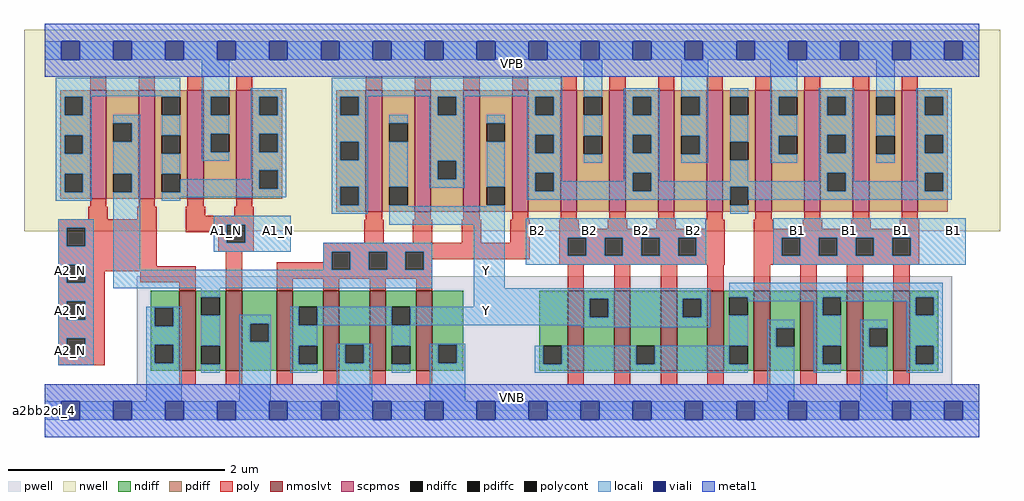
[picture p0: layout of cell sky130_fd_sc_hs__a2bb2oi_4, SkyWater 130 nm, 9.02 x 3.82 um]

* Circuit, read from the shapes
.subckt sky130_fd_sc_hs__a2bb2oi_4 A1_N A2_N B1 B2 VGND VNB VPB VPWR Y
XM1 n1 A2_N VGND VNB sky130_fd_pr__nfet_01v8_lvt w=0.74 l=0.15
XM2 VGND A1_N n1 VNB sky130_fd_pr__nfet_01v8_lvt w=0.74 l=0.15
XM3 Y n1 VGND VNB sky130_fd_pr__nfet_01v8_lvt w=0.74 l=0.15 m=4
XM4 Y B2 n2 VNB sky130_fd_pr__nfet_01v8_lvt w=0.74 l=0.15 m=4
XM5 VGND B1 n2 VNB sky130_fd_pr__nfet_01v8_lvt w=0.74 l=0.15 m=4
XM6 n1 A2_N n3 VPB sky130_fd_pr__pfet_01v8 w=1 l=0.15 m=2
XM7 VPWR A1_N n3 VPB sky130_fd_pr__pfet_01v8 w=1 l=0.15 m=2
XM8 Y n1 n4 VPB sky130_fd_pr__pfet_01v8 w=1.12 l=0.15 m=4
XM9 VPWR B2 n4 VPB sky130_fd_pr__pfet_01v8 w=1.12 l=0.15 m=4
XM10 VPWR B1 n4 VPB sky130_fd_pr__pfet_01v8 w=1.12 l=0.15 m=4
.ends

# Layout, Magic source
magic
tech sky130A
magscale 1 2
<< nwell >>
rect -38 332 1766 704
<< pwell >>
rect 170 49 1678 248
rect 0 0 1728 49
<< scpmos >>
rect 84 392 114 592
rect 174 392 204 592
rect 264 392 294 592
rect 354 392 384 592
rect 594 368 624 592
rect 684 368 714 592
rect 774 368 804 592
rect 864 368 894 592
rect 954 368 984 592
rect 1044 368 1074 592
rect 1134 368 1164 592
rect 1224 368 1254 592
rect 1314 368 1344 592
rect 1404 368 1434 592
rect 1494 368 1524 592
rect 1584 368 1614 592
<< nmoslvt >>
rect 249 74 279 222
rect 335 74 365 222
rect 429 74 459 222
rect 515 74 545 222
rect 601 74 631 222
rect 687 74 717 222
rect 967 74 997 222
rect 1053 74 1083 222
rect 1139 74 1169 222
rect 1225 74 1255 222
rect 1311 74 1341 222
rect 1397 74 1427 222
rect 1483 74 1513 222
rect 1569 74 1599 222
<< ndiff >>
rect 196 190 249 222
rect 196 156 204 190
rect 238 156 249 190
rect 196 122 249 156
rect 196 88 204 122
rect 238 88 249 122
rect 196 74 249 88
rect 279 210 335 222
rect 279 176 290 210
rect 324 176 335 210
rect 279 120 335 176
rect 279 86 290 120
rect 324 86 335 120
rect 279 74 335 86
rect 365 161 429 222
rect 365 127 380 161
rect 414 127 429 161
rect 365 74 429 127
rect 459 192 515 222
rect 459 158 470 192
rect 504 158 515 192
rect 459 120 515 158
rect 459 86 470 120
rect 504 86 515 120
rect 459 74 515 86
rect 545 122 601 222
rect 545 88 556 122
rect 590 88 601 122
rect 545 74 601 88
rect 631 192 687 222
rect 631 158 642 192
rect 676 158 687 192
rect 631 120 687 158
rect 631 86 642 120
rect 676 86 687 120
rect 631 74 687 86
rect 717 122 774 222
rect 717 88 728 122
rect 762 88 774 122
rect 717 74 774 88
rect 914 120 967 222
rect 914 86 922 120
rect 956 86 967 120
rect 914 74 967 86
rect 997 207 1053 222
rect 997 173 1008 207
rect 1042 173 1053 207
rect 997 74 1053 173
rect 1083 120 1139 222
rect 1083 86 1094 120
rect 1128 86 1139 120
rect 1083 74 1139 86
rect 1169 207 1225 222
rect 1169 173 1180 207
rect 1214 173 1225 207
rect 1169 74 1225 173
rect 1255 210 1311 222
rect 1255 176 1266 210
rect 1300 176 1311 210
rect 1255 120 1311 176
rect 1255 86 1266 120
rect 1300 86 1311 120
rect 1255 74 1311 86
rect 1341 152 1397 222
rect 1341 118 1352 152
rect 1386 118 1397 152
rect 1341 74 1397 118
rect 1427 210 1483 222
rect 1427 176 1438 210
rect 1472 176 1483 210
rect 1427 120 1483 176
rect 1427 86 1438 120
rect 1472 86 1483 120
rect 1427 74 1483 86
rect 1513 152 1569 222
rect 1513 118 1524 152
rect 1558 118 1569 152
rect 1513 74 1569 118
rect 1599 210 1652 222
rect 1599 176 1610 210
rect 1644 176 1652 210
rect 1599 120 1652 176
rect 1599 86 1610 120
rect 1644 86 1652 120
rect 1599 74 1652 86
<< pdiff >>
rect 29 580 84 592
rect 29 546 37 580
rect 71 546 84 580
rect 29 509 84 546
rect 29 475 37 509
rect 71 475 84 509
rect 29 438 84 475
rect 29 404 37 438
rect 71 404 84 438
rect 29 392 84 404
rect 114 531 174 592
rect 114 497 127 531
rect 161 497 174 531
rect 114 438 174 497
rect 114 404 127 438
rect 161 404 174 438
rect 114 392 174 404
rect 204 580 264 592
rect 204 546 217 580
rect 251 546 264 580
rect 204 509 264 546
rect 204 475 217 509
rect 251 475 264 509
rect 204 438 264 475
rect 204 404 217 438
rect 251 404 264 438
rect 204 392 264 404
rect 294 580 354 592
rect 294 546 307 580
rect 341 546 354 580
rect 294 512 354 546
rect 294 478 307 512
rect 341 478 354 512
rect 294 392 354 478
rect 384 580 439 592
rect 384 546 397 580
rect 431 546 439 580
rect 384 512 439 546
rect 384 478 397 512
rect 431 478 439 512
rect 384 444 439 478
rect 384 410 397 444
rect 431 410 439 444
rect 384 392 439 410
rect 539 580 594 592
rect 539 546 547 580
rect 581 546 594 580
rect 539 497 594 546
rect 539 463 547 497
rect 581 463 594 497
rect 539 414 594 463
rect 539 380 547 414
rect 581 380 594 414
rect 539 368 594 380
rect 624 531 684 592
rect 624 497 637 531
rect 671 497 684 531
rect 624 414 684 497
rect 624 380 637 414
rect 671 380 684 414
rect 624 368 684 380
rect 714 580 774 592
rect 714 546 727 580
rect 761 546 774 580
rect 714 462 774 546
rect 714 428 727 462
rect 761 428 774 462
rect 714 368 774 428
rect 804 531 864 592
rect 804 497 817 531
rect 851 497 864 531
rect 804 414 864 497
rect 804 380 817 414
rect 851 380 864 414
rect 804 368 864 380
rect 894 580 954 592
rect 894 546 907 580
rect 941 546 954 580
rect 894 510 954 546
rect 894 476 907 510
rect 941 476 954 510
rect 894 440 954 476
rect 894 406 907 440
rect 941 406 954 440
rect 894 368 954 406
rect 984 580 1044 592
rect 984 546 997 580
rect 1031 546 1044 580
rect 984 508 1044 546
rect 984 474 997 508
rect 1031 474 1044 508
rect 984 368 1044 474
rect 1074 580 1134 592
rect 1074 546 1087 580
rect 1121 546 1134 580
rect 1074 510 1134 546
rect 1074 476 1087 510
rect 1121 476 1134 510
rect 1074 440 1134 476
rect 1074 406 1087 440
rect 1121 406 1134 440
rect 1074 368 1134 406
rect 1164 580 1224 592
rect 1164 546 1177 580
rect 1211 546 1224 580
rect 1164 508 1224 546
rect 1164 474 1177 508
rect 1211 474 1224 508
rect 1164 368 1224 474
rect 1254 580 1314 592
rect 1254 546 1267 580
rect 1301 546 1314 580
rect 1254 497 1314 546
rect 1254 463 1267 497
rect 1301 463 1314 497
rect 1254 414 1314 463
rect 1254 380 1267 414
rect 1301 380 1314 414
rect 1254 368 1314 380
rect 1344 580 1404 592
rect 1344 546 1357 580
rect 1391 546 1404 580
rect 1344 508 1404 546
rect 1344 474 1357 508
rect 1391 474 1404 508
rect 1344 368 1404 474
rect 1434 580 1494 592
rect 1434 546 1447 580
rect 1481 546 1494 580
rect 1434 510 1494 546
rect 1434 476 1447 510
rect 1481 476 1494 510
rect 1434 440 1494 476
rect 1434 406 1447 440
rect 1481 406 1494 440
rect 1434 368 1494 406
rect 1524 580 1584 592
rect 1524 546 1537 580
rect 1571 546 1584 580
rect 1524 508 1584 546
rect 1524 474 1537 508
rect 1571 474 1584 508
rect 1524 368 1584 474
rect 1614 580 1669 592
rect 1614 546 1627 580
rect 1661 546 1669 580
rect 1614 510 1669 546
rect 1614 476 1627 510
rect 1661 476 1669 510
rect 1614 440 1669 476
rect 1614 406 1627 440
rect 1661 406 1669 440
rect 1614 368 1669 406
<< ndiffc >>
rect 204 156 238 190
rect 204 88 238 122
rect 290 176 324 210
rect 290 86 324 120
rect 380 127 414 161
rect 470 158 504 192
rect 470 86 504 120
rect 556 88 590 122
rect 642 158 676 192
rect 642 86 676 120
rect 728 88 762 122
rect 922 86 956 120
rect 1008 173 1042 207
rect 1094 86 1128 120
rect 1180 173 1214 207
rect 1266 176 1300 210
rect 1266 86 1300 120
rect 1352 118 1386 152
rect 1438 176 1472 210
rect 1438 86 1472 120
rect 1524 118 1558 152
rect 1610 176 1644 210
rect 1610 86 1644 120
<< pdiffc >>
rect 37 546 71 580
rect 37 475 71 509
rect 37 404 71 438
rect 127 497 161 531
rect 127 404 161 438
rect 217 546 251 580
rect 217 475 251 509
rect 217 404 251 438
rect 307 546 341 580
rect 307 478 341 512
rect 397 546 431 580
rect 397 478 431 512
rect 397 410 431 444
rect 547 546 581 580
rect 547 463 581 497
rect 547 380 581 414
rect 637 497 671 531
rect 637 380 671 414
rect 727 546 761 580
rect 727 428 761 462
rect 817 497 851 531
rect 817 380 851 414
rect 907 546 941 580
rect 907 476 941 510
rect 907 406 941 440
rect 997 546 1031 580
rect 997 474 1031 508
rect 1087 546 1121 580
rect 1087 476 1121 510
rect 1087 406 1121 440
rect 1177 546 1211 580
rect 1177 474 1211 508
rect 1267 546 1301 580
rect 1267 463 1301 497
rect 1267 380 1301 414
rect 1357 546 1391 580
rect 1357 474 1391 508
rect 1447 546 1481 580
rect 1447 476 1481 510
rect 1447 406 1481 440
rect 1537 546 1571 580
rect 1537 474 1571 508
rect 1627 546 1661 580
rect 1627 476 1661 510
rect 1627 406 1661 440
<< poly >>
rect 84 592 114 618
rect 174 592 204 618
rect 264 592 294 618
rect 354 592 384 618
rect 594 592 624 618
rect 684 592 714 618
rect 774 592 804 618
rect 864 592 894 618
rect 954 592 984 618
rect 1044 592 1074 618
rect 1134 592 1164 618
rect 1224 592 1254 618
rect 1314 592 1344 618
rect 1404 592 1434 618
rect 1494 592 1524 618
rect 1584 592 1614 618
rect 84 377 114 392
rect 174 377 204 392
rect 264 377 294 392
rect 354 377 384 392
rect 81 354 117 377
rect 171 354 207 377
rect 25 338 207 354
rect 25 304 41 338
rect 75 304 207 338
rect 261 360 297 377
rect 351 360 387 377
rect 261 344 387 360
rect 594 353 624 368
rect 684 353 714 368
rect 774 353 804 368
rect 864 353 894 368
rect 954 353 984 368
rect 1044 353 1074 368
rect 1134 353 1164 368
rect 1224 353 1254 368
rect 1314 353 1344 368
rect 1404 353 1434 368
rect 1494 353 1524 368
rect 1584 353 1614 368
rect 261 330 337 344
rect 25 270 207 304
rect 321 310 337 330
rect 371 310 387 344
rect 591 310 627 353
rect 681 310 717 353
rect 771 310 807 353
rect 861 310 897 353
rect 321 294 387 310
rect 515 294 897 310
rect 25 236 41 270
rect 75 267 207 270
rect 75 258 279 267
rect 75 236 111 258
rect 177 237 279 258
rect 25 202 111 236
rect 249 222 279 237
rect 335 222 365 294
rect 515 274 531 294
rect 429 260 531 274
rect 565 260 599 294
rect 633 260 667 294
rect 701 280 897 294
rect 951 336 987 353
rect 1041 336 1077 353
rect 1131 336 1167 353
rect 1221 336 1257 353
rect 951 320 1257 336
rect 951 286 967 320
rect 1001 286 1035 320
rect 1069 286 1103 320
rect 1137 286 1171 320
rect 1205 286 1257 320
rect 701 260 717 280
rect 951 270 1257 286
rect 1311 336 1347 353
rect 1401 336 1437 353
rect 1491 336 1527 353
rect 1581 336 1617 353
rect 1311 320 1617 336
rect 1311 286 1363 320
rect 1397 286 1431 320
rect 1465 286 1499 320
rect 1533 286 1567 320
rect 1601 286 1617 320
rect 1311 270 1617 286
rect 429 244 717 260
rect 429 222 459 244
rect 515 222 545 244
rect 601 222 631 244
rect 687 222 717 244
rect 967 222 997 270
rect 1053 222 1083 270
rect 1139 222 1169 270
rect 1225 222 1255 270
rect 1311 222 1341 270
rect 1397 222 1427 270
rect 1483 222 1513 270
rect 1569 222 1599 270
rect 25 168 41 202
rect 75 168 111 202
rect 25 134 111 168
rect 25 100 41 134
rect 75 100 111 134
rect 25 84 111 100
rect 249 48 279 74
rect 335 48 365 74
rect 429 48 459 74
rect 515 48 545 74
rect 601 48 631 74
rect 687 48 717 74
rect 967 48 997 74
rect 1053 48 1083 74
rect 1139 48 1169 74
rect 1225 48 1255 74
rect 1311 48 1341 74
rect 1397 48 1427 74
rect 1483 48 1513 74
rect 1569 48 1599 74
<< polycont >>
rect 41 304 75 338
rect 337 310 371 344
rect 41 236 75 270
rect 531 260 565 294
rect 599 260 633 294
rect 667 260 701 294
rect 967 286 1001 320
rect 1035 286 1069 320
rect 1103 286 1137 320
rect 1171 286 1205 320
rect 1363 286 1397 320
rect 1431 286 1465 320
rect 1499 286 1533 320
rect 1567 286 1601 320
rect 41 168 75 202
rect 41 100 75 134
<< locali >>
rect 0 649 31 683
rect 65 649 127 683
rect 161 649 223 683
rect 257 649 319 683
rect 353 649 415 683
rect 449 649 511 683
rect 545 649 607 683
rect 641 649 703 683
rect 737 649 799 683
rect 833 649 895 683
rect 929 649 991 683
rect 1025 649 1087 683
rect 1121 649 1183 683
rect 1217 649 1279 683
rect 1313 649 1375 683
rect 1409 649 1471 683
rect 1505 649 1567 683
rect 1601 649 1663 683
rect 1697 649 1728 683
rect 21 581 251 615
rect 21 580 87 581
rect 21 546 37 580
rect 71 546 87 580
rect 217 580 251 581
rect 21 509 87 546
rect 21 475 37 509
rect 71 475 87 509
rect 21 438 87 475
rect 21 404 37 438
rect 71 404 87 438
rect 21 388 87 404
rect 127 531 177 547
rect 161 497 177 531
rect 127 438 177 497
rect 161 404 177 438
rect 25 338 91 354
rect 25 304 41 338
rect 75 304 91 338
rect 25 270 91 304
rect 25 236 41 270
rect 75 236 91 270
rect 25 202 91 236
rect 127 260 177 404
rect 217 509 251 546
rect 217 438 251 475
rect 291 580 341 649
rect 291 546 307 580
rect 291 512 341 546
rect 291 478 307 512
rect 291 462 341 478
rect 381 580 447 596
rect 381 546 397 580
rect 431 546 447 580
rect 381 512 447 546
rect 381 478 397 512
rect 431 478 447 512
rect 381 444 447 478
rect 381 428 397 444
rect 251 410 397 428
rect 431 410 447 444
rect 251 404 447 410
rect 217 394 447 404
rect 531 581 957 615
rect 531 580 597 581
rect 531 546 547 580
rect 581 546 597 580
rect 711 580 777 581
rect 531 497 597 546
rect 531 463 547 497
rect 581 463 597 497
rect 531 414 597 463
rect 217 388 251 394
rect 531 380 547 414
rect 581 380 597 414
rect 531 364 597 380
rect 637 531 671 547
rect 637 414 671 497
rect 711 546 727 580
rect 761 546 777 580
rect 891 580 957 581
rect 711 462 777 546
rect 711 428 727 462
rect 761 428 777 462
rect 711 412 777 428
rect 817 531 851 547
rect 817 414 851 497
rect 637 378 671 380
rect 891 546 907 580
rect 941 546 957 580
rect 891 510 957 546
rect 891 476 907 510
rect 941 476 957 510
rect 891 440 957 476
rect 997 580 1031 649
rect 997 508 1031 546
rect 997 458 1031 474
rect 1071 580 1137 596
rect 1071 546 1087 580
rect 1121 546 1137 580
rect 1071 510 1137 546
rect 1071 476 1087 510
rect 1121 476 1137 510
rect 891 406 907 440
rect 941 424 957 440
rect 1071 440 1137 476
rect 1177 580 1227 649
rect 1211 546 1227 580
rect 1177 508 1227 546
rect 1211 474 1227 508
rect 1177 458 1227 474
rect 1267 580 1301 596
rect 1267 497 1301 546
rect 1071 424 1087 440
rect 941 406 1087 424
rect 1121 424 1137 440
rect 1267 424 1301 463
rect 1341 580 1391 649
rect 1341 546 1357 580
rect 1341 508 1391 546
rect 1341 474 1357 508
rect 1341 458 1391 474
rect 1431 580 1497 596
rect 1431 546 1447 580
rect 1481 546 1497 580
rect 1431 510 1497 546
rect 1431 476 1447 510
rect 1481 476 1497 510
rect 1431 440 1497 476
rect 1537 580 1571 649
rect 1537 508 1571 546
rect 1537 458 1571 474
rect 1611 580 1677 596
rect 1611 546 1627 580
rect 1661 546 1677 580
rect 1611 510 1677 546
rect 1611 476 1627 510
rect 1661 476 1677 510
rect 1431 424 1447 440
rect 1121 414 1447 424
rect 1121 406 1267 414
rect 891 390 1267 406
rect 817 378 851 380
rect 313 344 455 360
rect 637 344 851 378
rect 1301 406 1447 414
rect 1481 424 1497 440
rect 1611 440 1677 476
rect 1611 424 1627 440
rect 1481 406 1627 424
rect 1661 406 1677 440
rect 1301 390 1677 406
rect 1267 364 1301 380
rect 313 310 337 344
rect 371 310 455 344
rect 313 294 455 310
rect 515 294 717 310
rect 515 260 531 294
rect 565 260 599 294
rect 633 260 667 294
rect 701 260 717 294
rect 127 226 717 260
rect 793 226 851 344
rect 889 320 1223 356
rect 889 286 967 320
rect 1001 286 1035 320
rect 1069 286 1103 320
rect 1137 286 1171 320
rect 1205 286 1223 320
rect 889 270 1223 286
rect 1347 320 1703 356
rect 1347 286 1363 320
rect 1397 286 1431 320
rect 1465 286 1499 320
rect 1533 286 1567 320
rect 1601 286 1703 320
rect 1347 270 1703 286
rect 25 168 41 202
rect 75 168 91 202
rect 290 210 324 226
rect 25 134 91 168
rect 25 100 41 134
rect 75 100 91 134
rect 25 84 91 100
rect 188 190 254 192
rect 188 156 204 190
rect 238 156 254 190
rect 188 122 254 156
rect 188 88 204 122
rect 238 88 254 122
rect 188 17 254 88
rect 793 207 1230 226
rect 793 192 1008 207
rect 290 120 324 176
rect 290 70 324 86
rect 360 161 418 177
rect 360 127 380 161
rect 414 127 418 161
rect 360 17 418 127
rect 454 158 470 192
rect 504 158 642 192
rect 676 173 1008 192
rect 1042 173 1180 207
rect 1214 173 1230 207
rect 676 158 1230 173
rect 454 120 504 158
rect 454 86 470 120
rect 454 70 504 86
rect 540 122 606 124
rect 540 88 556 122
rect 590 88 606 122
rect 540 17 606 88
rect 642 120 676 158
rect 992 154 1230 158
rect 1266 210 1660 236
rect 1300 202 1438 210
rect 642 70 676 86
rect 712 122 778 124
rect 712 88 728 122
rect 762 88 778 122
rect 1266 120 1300 176
rect 1422 176 1438 202
rect 1472 202 1610 210
rect 712 17 778 88
rect 906 86 922 120
rect 956 86 1094 120
rect 1128 86 1266 120
rect 906 70 1300 86
rect 1336 152 1386 168
rect 1336 118 1352 152
rect 1336 17 1386 118
rect 1422 120 1472 176
rect 1594 176 1610 202
rect 1644 176 1660 210
rect 1422 86 1438 120
rect 1422 70 1472 86
rect 1508 152 1558 168
rect 1508 118 1524 152
rect 1508 17 1558 118
rect 1594 120 1660 176
rect 1594 86 1610 120
rect 1644 86 1660 120
rect 1594 70 1660 86
rect 0 -17 31 17
rect 65 -17 127 17
rect 161 -17 223 17
rect 257 -17 319 17
rect 353 -17 415 17
rect 449 -17 511 17
rect 545 -17 607 17
rect 641 -17 703 17
rect 737 -17 799 17
rect 833 -17 895 17
rect 929 -17 991 17
rect 1025 -17 1087 17
rect 1121 -17 1183 17
rect 1217 -17 1279 17
rect 1313 -17 1375 17
rect 1409 -17 1471 17
rect 1505 -17 1567 17
rect 1601 -17 1663 17
rect 1697 -17 1728 17
<< viali >>
rect 31 649 65 683
rect 127 649 161 683
rect 223 649 257 683
rect 319 649 353 683
rect 415 649 449 683
rect 511 649 545 683
rect 607 649 641 683
rect 703 649 737 683
rect 799 649 833 683
rect 895 649 929 683
rect 991 649 1025 683
rect 1087 649 1121 683
rect 1183 649 1217 683
rect 1279 649 1313 683
rect 1375 649 1409 683
rect 1471 649 1505 683
rect 1567 649 1601 683
rect 1663 649 1697 683
rect 31 -17 65 17
rect 127 -17 161 17
rect 223 -17 257 17
rect 319 -17 353 17
rect 415 -17 449 17
rect 511 -17 545 17
rect 607 -17 641 17
rect 703 -17 737 17
rect 799 -17 833 17
rect 895 -17 929 17
rect 991 -17 1025 17
rect 1087 -17 1121 17
rect 1183 -17 1217 17
rect 1279 -17 1313 17
rect 1375 -17 1409 17
rect 1471 -17 1505 17
rect 1567 -17 1601 17
rect 1663 -17 1697 17
<< metal1 >>
rect 0 683 1728 715
rect 0 649 31 683
rect 65 649 127 683
rect 161 649 223 683
rect 257 649 319 683
rect 353 649 415 683
rect 449 649 511 683
rect 545 649 607 683
rect 641 649 703 683
rect 737 649 799 683
rect 833 649 895 683
rect 929 649 991 683
rect 1025 649 1087 683
rect 1121 649 1183 683
rect 1217 649 1279 683
rect 1313 649 1375 683
rect 1409 649 1471 683
rect 1505 649 1567 683
rect 1601 649 1663 683
rect 1697 649 1728 683
rect 0 617 1728 649
rect 0 17 1728 49
rect 0 -17 31 17
rect 65 -17 127 17
rect 161 -17 223 17
rect 257 -17 319 17
rect 353 -17 415 17
rect 449 -17 511 17
rect 545 -17 607 17
rect 641 -17 703 17
rect 737 -17 799 17
rect 833 -17 895 17
rect 929 -17 991 17
rect 1025 -17 1087 17
rect 1121 -17 1183 17
rect 1217 -17 1279 17
rect 1313 -17 1375 17
rect 1409 -17 1471 17
rect 1505 -17 1567 17
rect 1601 -17 1663 17
rect 1697 -17 1728 17
rect 0 -49 1728 -17
<< labels >>
rlabel comment s 0 0 0 0 4 a2bb2oi_4
flabel pwell s 0 0 1728 49 0 FreeSans 200 0 0 0 VNB
port 6 nsew ground bidirectional
flabel nwell s 0 617 1728 666 0 FreeSans 200 0 0 0 VPB
port 7 nsew power bidirectional
flabel metal1 s 0 617 1728 666 0 FreeSans 340 0 0 0 VPWR
port 8 nsew power bidirectional
flabel metal1 s 0 0 1728 49 0 FreeSans 340 0 0 0 VGND
port 5 nsew ground bidirectional
flabel locali s 31 94 65 128 0 FreeSans 340 0 0 0 A2_N
port 2 nsew signal input
flabel locali s 31 168 65 202 0 FreeSans 340 0 0 0 A2_N
port 2 nsew signal input
flabel locali s 31 242 65 276 0 FreeSans 340 0 0 0 A2_N
port 2 nsew signal input
flabel locali s 799 168 833 202 0 FreeSans 340 0 0 0 Y
port 9 nsew signal output
flabel locali s 799 242 833 276 0 FreeSans 340 0 0 0 Y
port 9 nsew signal output
flabel locali s 895 316 929 350 0 FreeSans 340 0 0 0 B2
port 4 nsew signal input
flabel locali s 991 316 1025 350 0 FreeSans 340 0 0 0 B2
port 4 nsew signal input
flabel locali s 1087 316 1121 350 0 FreeSans 340 0 0 0 B2
port 4 nsew signal input
flabel locali s 1183 316 1217 350 0 FreeSans 340 0 0 0 B2
port 4 nsew signal input
flabel locali s 1375 316 1409 350 0 FreeSans 340 0 0 0 B1
port 3 nsew signal input
flabel locali s 1471 316 1505 350 0 FreeSans 340 0 0 0 B1
port 3 nsew signal input
flabel locali s 1567 316 1601 350 0 FreeSans 340 0 0 0 B1
port 3 nsew signal input
flabel locali s 1663 316 1697 350 0 FreeSans 340 0 0 0 B1
port 3 nsew signal input
flabel locali s 319 316 353 350 0 FreeSans 340 0 0 0 A1_N
port 1 nsew signal input
flabel locali s 415 316 449 350 0 FreeSans 340 0 0 0 A1_N
port 1 nsew signal input
<< properties >>
string LEFsite unit
string LEFclass CORE
string FIXED_BBOX 0 0 1728 666
string GDS_FILE $PDKPATH/libs.ref/sky130_fd_sc_hs/gds/sky130_fd_sc_hs.gds
string LEFsymmetry X Y
string GDS_END 1927830
string GDS_START 1913258
<< end >>
